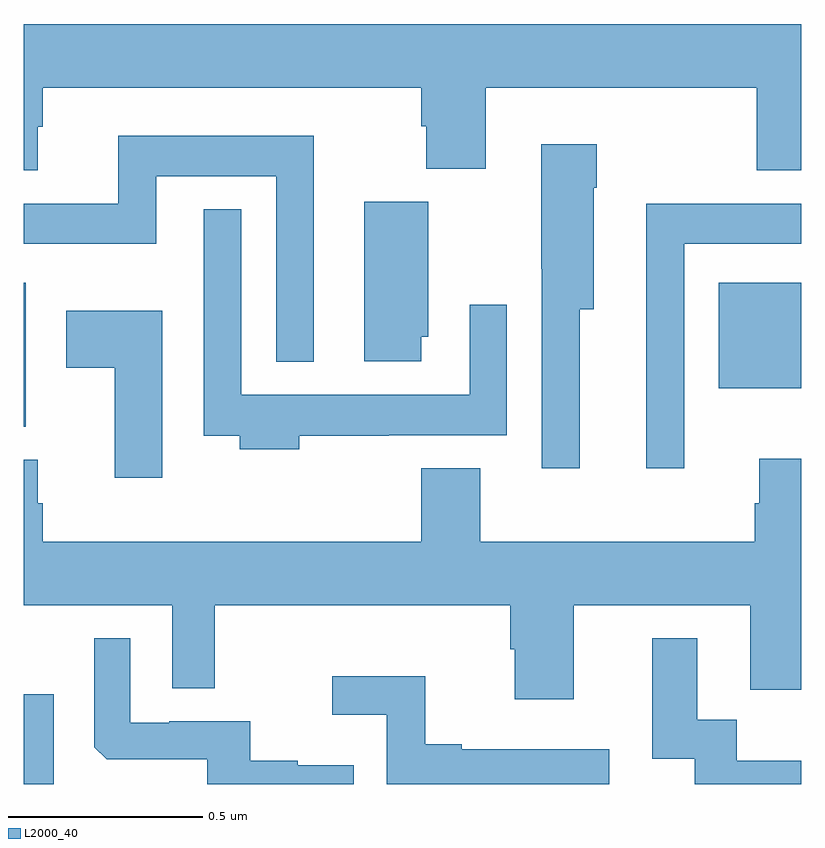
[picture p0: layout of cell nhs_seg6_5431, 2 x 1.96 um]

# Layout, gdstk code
import gdstk
lib = gdstk.Library(unit=1e-6, precision=1e-09)
def R(c, l, rs):  # rectangles x0, y0, x1, y1
    for r in rs: c.add(gdstk.rectangle(r[:2], r[2:], *l))
def P(c, l, *ps):  # polygons
    for p in ps: c.add(gdstk.Polygon(p, *l))
L2000_40 = (2000, 40)

nhs_seg6_5431 = lib.new_cell('nhs_seg6_5431')
R(nhs_seg6_5431, L2000_40, [(182,989.5,182.077,989.731), (182,990.419,182.005,990.79), (183.788,990.518,184,990.79)])
P(nhs_seg6_5431, L2000_40, [(182.035,991.191),(182.048,991.191),(182.048,991.292),(183.023,991.292),(183.023,991.193),(183.035,991.193),(183.035,991.084),(183.188,991.084),(183.188,991.292),(183.886,991.292),(183.886,991.079),(184,991.079),(184,991.456),(182,991.456),(182,991.079),(182.035,991.079)],
  [(182.746,991.168),(182.243,991.168),(182.243,990.994),(182,990.994),(182,990.89),(182.34,990.89),(182.34,991.064),(182.649,991.064),(182.649,990.587),(182.746,990.587)],
  [(183.43,990.722),(183.466,990.722),(183.466,991.034),(183.474,991.034),(183.474,991.147),(183.332,991.147),(183.332,990.826),(183.333,990.826),(183.333,990.312),(183.43,990.312)],
  [(183.022,990.651),(183.04,990.651),(183.04,990.999),(182.876,990.999),(182.876,990.588),(183.022,990.588)],
  [(183.699,990.89),(184,990.89),(184,990.994),(183.602,990.994),(183.602,990.312),(183.699,990.312)],
  [(182.708,990.396),(182.939,990.396),(182.939,990.398),(183.243,990.398),(183.243,990.733),(183.147,990.733),(183.147,990.502),(182.559,990.502),(182.559,990.979),(182.463,990.979),(182.463,990.396),(182.555,990.396),(182.555,990.362),(182.708,990.362)],
  [(182.356,990.718),(182.109,990.718),(182.109,990.571),(182.234,990.571),(182.234,990.288),(182.356,990.288)],
  [(183.175,990.313),(183.023,990.313),(183.023,990.124),(182.048,990.124),(182.048,990.222),(182.035,990.222),(182.035,990.334),(182,990.334),(182,989.96),(182.382,989.96),(182.382,989.746),(182.491,989.746),(182.491,989.96),(183.251,989.96),(183.251,989.847),(183.263,989.847),(183.263,989.718),(183.415,989.718),(183.415,989.96),(183.869,989.96),(183.869,989.742),(184,989.742),(184,990.337),(183.893,990.337),(183.893,990.222),(183.881,990.222),(183.881,990.124),(183.175,990.124)],
  [(182.849,989.548),(182.705,989.548),(182.705,989.56),(182.582,989.56),(182.582,989.661),(182.374,989.661),(182.374,989.658),(182.274,989.658),(182.274,989.875),(182.181,989.875),(182.181,989.595),(182.213,989.564),(182.472,989.564),(182.472,989.5),(182.849,989.5)],
  [(184,989.56),(183.835,989.56),(183.835,989.666),(183.733,989.666),(183.733,989.875),(183.617,989.875),(183.617,989.565),(183.726,989.565),(183.726,989.5),(184,989.5)],
  [(183.507,989.589),(183.127,989.589),(183.127,989.602),(183.033,989.602),(183.033,989.777),(182.793,989.777),(182.793,989.678),(182.934,989.678),(182.934,989.5),(183.507,989.5)])

lib.write_gds('nhs_seg6_5431.gds')
